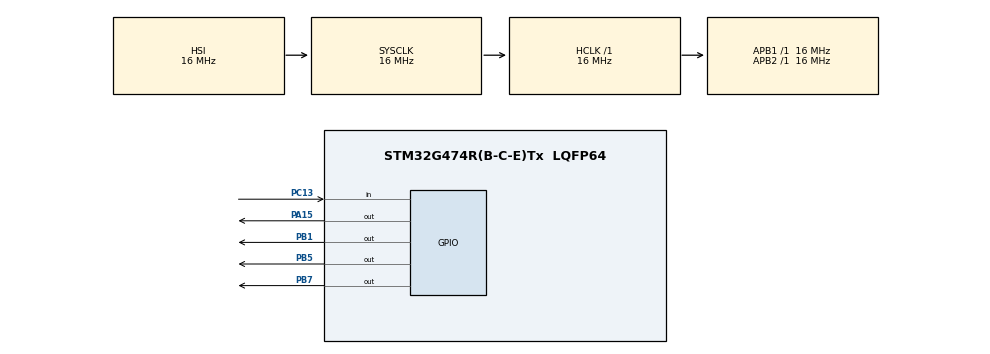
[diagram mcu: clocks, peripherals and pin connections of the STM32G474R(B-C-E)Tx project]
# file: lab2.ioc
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Mcu.Family=STM32G4
Mcu.Name=STM32G474R(B-C-E)Tx
Mcu.Package=LQFP64
NVIC.PriorityGroup=NVIC_PRIORITYGROUP_4
PA15.Signal=GPIO_Output
PB1.Signal=GPIO_Output
PB5.Signal=GPIO_Output
PB7.Signal=GPIO_Output
PC13.GPIO_PuPd=GPIO_PULLUP
PC13.Signal=GPIO_Input
ProjectManager.HeapSize=0x200
ProjectManager.StackSize=0x400
ProjectManager.TargetToolchain=STM32CubeIDE
RCC.AHBFreq_Value=16000000
RCC.APB1Freq_Value=16000000
RCC.APB1TimFreq_Value=16000000
RCC.APB2Freq_Value=16000000
RCC.APB2TimFreq_Value=16000000
RCC.CortexFreq_Value=16000000
RCC.EXTERNAL_CLOCK_VALUE=12288000
RCC.HCLKFreq_Value=16000000
RCC.HSE_VALUE=8000000
RCC.HSI48_VALUE=48000000
RCC.HSI_VALUE=16000000
RCC.LSE_VALUE=32768
RCC.SYSCLKFreq_VALUE=16000000
RCC.USBFreq_Value=64000000
RCC.VCOOutputFreq_Value=128000000
board=custom

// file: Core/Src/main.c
/* USER CODE BEGIN Header */
/**
  ******************************************************************************
  * @file           : main.c
  * @brief          : Main program body
  ******************************************************************************
  * @attention
  *
  * Copyright (c) 2025 STMicroelectronics.
  * All rights reserved.
  *
  * This software is licensed under terms that can be found in the LICENSE file
  * in the root directory of this software component.
  * If no LICENSE file comes with this software, it is provided AS-IS.
  *
  ******************************************************************************
  */
/* USER CODE END Header */
#include "main.h"

void SystemClock_Config(void);
static void MX_GPIO_Init(void);

int main(void)
{

  /* MCU Configuration--------------------------------------------------------*/

  /* Reset of all peripherals, Initializes the Flash interface and the Systick. */
  HAL_Init();

  /* Configure the system clock */
  SystemClock_Config();

  /* Initialize all configured peripherals */
  MX_GPIO_Init();

  /* Infinite loop */
  /* USER CODE BEGIN WHILE */
  while (1)
  {
	  // Проверка за нати�?нат бутон (логиче�?ка 0)
	      if (HAL_GPIO_ReadPin(GPIOC, GPIO_PIN_13) == GPIO_PIN_RESET)
	      {
	        uint32_t startTick = HAL_GetTick(); // Запомн�?ме началното време

	        // Мига 6 �?екунди (променливо чрез времето в ms)
	        while (HAL_GetTick() - startTick < 5000)
	        {
	          HAL_GPIO_WritePin(GPIOB, GPIO_PIN_7, GPIO_PIN_SET);   // LED ON
	          HAL_Delay(50); // Включен 300ms

	          HAL_GPIO_WritePin(GPIOB, GPIO_PIN_7, GPIO_PIN_RESET); // LED OFF
	          HAL_Delay(50); // Изключен 300ms

	          HAL_GPIO_WritePin(GPIOA, GPIO_PIN_15, GPIO_PIN_SET);   // LED ON
	          HAL_Delay(50); // Включен 300ms

	          HAL_GPIO_WritePin(GPIOA, GPIO_PIN_15, GPIO_PIN_RESET); // LED OFF
	          HAL_Delay(50); // Изключен 300ms

	          HAL_GPIO_WritePin(GPIOB, GPIO_PIN_1, GPIO_PIN_SET);   // LED ON
	          HAL_Delay(50); // Включен 300ms

	          HAL_GPIO_WritePin(GPIOB, GPIO_PIN_1, GPIO_PIN_RESET); // LED OFF
	          HAL_Delay(50); // Изключен 300ms

	          HAL_GPIO_WritePin(GPIOB, GPIO_PIN_5, GPIO_PIN_SET);   // LED ON
	          HAL_Delay(60); // Включен 300ms

	          HAL_GPIO_WritePin(GPIOB, GPIO_PIN_5, GPIO_PIN_RESET); // LED OFF
	          HAL_Delay(60); // Изключен 300ms
	        }
	      }
    /* USER CODE END WHILE */

  }
}

void SystemClock_Config(void)
{
  RCC_OscInitTypeDef RCC_OscInitStruct = {0};
  RCC_ClkInitTypeDef RCC_ClkInitStruct = {0};

  /** Configure the main internal regulator output voltage
  */
  HAL_PWREx_ControlVoltageScaling(PWR_REGULATOR_VOLTAGE_SCALE1);

  /** Initializes the RCC Oscillators according to the specified parameters
  * in the RCC_OscInitTypeDef structure.
  */
  RCC_OscInitStruct.OscillatorType = RCC_OSCILLATORTYPE_HSI;
  RCC_OscInitStruct.HSIState = RCC_HSI_ON;
  RCC_OscInitStruct.HSICalibrationValue = RCC_HSICALIBRATION_DEFAULT;
  RCC_OscInitStruct.PLL.PLLState = RCC_PLL_NONE;
  if (HAL_RCC_OscConfig(&RCC_OscInitStruct) != HAL_OK)
  {
    Error_Handler();
  }

  /** Initializes the CPU, AHB and APB buses clocks
  */
  RCC_ClkInitStruct.ClockType = RCC_CLOCKTYPE_HCLK|RCC_CLOCKTYPE_SYSCLK
                              |RCC_CLOCKTYPE_PCLK1|RCC_CLOCKTYPE_PCLK2;
  RCC_ClkInitStruct.SYSCLKSource = RCC_SYSCLKSOURCE_HSI;
  RCC_ClkInitStruct.AHBCLKDivider = RCC_SYSCLK_DIV1;
  RCC_ClkInitStruct.APB1CLKDivider = RCC_HCLK_DIV1;
  RCC_ClkInitStruct.APB2CLKDivider = RCC_HCLK_DIV1;

  if (HAL_RCC_ClockConfig(&RCC_ClkInitStruct, FLASH_LATENCY_0) != HAL_OK)
  {
    Error_Handler();
  }
}

static void MX_GPIO_Init(void)
{
  GPIO_InitTypeDef GPIO_InitStruct = {0};

  /* GPIO Ports Clock Enable */
  __HAL_RCC_GPIOC_CLK_ENABLE();
  __HAL_RCC_GPIOB_CLK_ENABLE();
  __HAL_RCC_GPIOA_CLK_ENABLE();

  /*Configure GPIO pin Output Level */
  HAL_GPIO_WritePin(GPIOB, GPIO_PIN_1|GPIO_PIN_5|GPIO_PIN_7, GPIO_PIN_RESET);

  /*Configure GPIO pin Output Level */
  HAL_GPIO_WritePin(GPIOA, GPIO_PIN_15, GPIO_PIN_RESET);

  /*Configure GPIO pin : PC13 */
  GPIO_InitStruct.Pin = GPIO_PIN_13;
  GPIO_InitStruct.Mode = GPIO_MODE_INPUT;
  GPIO_InitStruct.Pull = GPIO_PULLUP;
  HAL_GPIO_Init(GPIOC, &GPIO_InitStruct);

  /*Configure GPIO pins : PB1 PB5 PB7 */
  GPIO_InitStruct.Pin = GPIO_PIN_1|GPIO_PIN_5|GPIO_PIN_7;
  GPIO_InitStruct.Mode = GPIO_MODE_OUTPUT_PP;
  GPIO_InitStruct.Pull = GPIO_NOPULL;
  GPIO_InitStruct.Speed = GPIO_SPEED_FREQ_LOW;
  HAL_GPIO_Init(GPIOB, &GPIO_InitStruct);

  /*Configure GPIO pin : PA15 */
  GPIO_InitStruct.Pin = GPIO_PIN_15;
  GPIO_InitStruct.Mode = GPIO_MODE_OUTPUT_PP;
  GPIO_InitStruct.Pull = GPIO_NOPULL;
  GPIO_InitStruct.Speed = GPIO_SPEED_FREQ_LOW;
  HAL_GPIO_Init(GPIOA, &GPIO_InitStruct);

}

void Error_Handler(void)
{
  __disable_irq();
  while (1)
  {
  }
}
